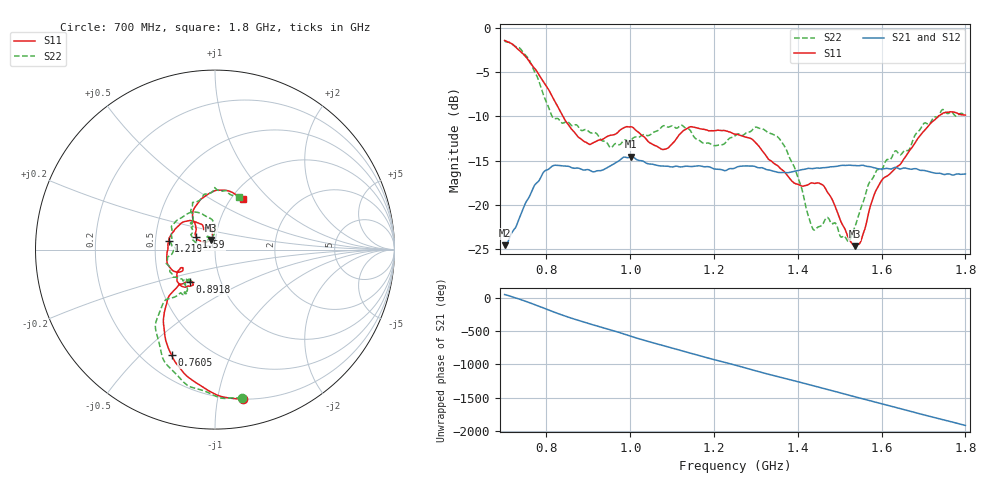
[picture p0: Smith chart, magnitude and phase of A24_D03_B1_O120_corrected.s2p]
! Created with skrf 1.9.0 (http://scikit-rf.org).
# Hz S RI R 50.0
!freq ReS11 ImS11 ReS21 ImS21 ReS12 ImS12 ReS22 ImS22
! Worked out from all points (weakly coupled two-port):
!   1601 points, 700 MHz to 1.8 GHz, reference 50 ohm
!   highest |S21| = -14.55 dB at 1.002 GHz (marker M1); lowest = -24.6 dB at 701.4 MHz (marker M2)
!   lowest |S11| = -24.7 dB at 1.535 GHz (marker M3), VSWR 1.12, Z = 47.3 + j5.03 ohm
!   |S11| at or under -10 dB: 839.1 MHz to 1.736 GHz (896.5 MHz wide, 69.6 % of centre)
!   |S22| runs from -24.2 to -1.5 dB; largest |S21 - S12| = 0.0035
!   S11 on the Smith chart (normalised r, x): 700 MHz: 0.20, -1.19; 760.5 MHz: 0.31, -0.62; 891.8 MHz: 0.71, -0.27; 1.219 GHz: 0.59, +0.06; 1.59 GHz: 0.80, +0.11; 1.8 GHz: 1.13, +0.71
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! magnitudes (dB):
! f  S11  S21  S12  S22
! 700 MHz  -1.4  -24.6  -24.3  -1.5
! 701.4 MHz  -1.5  -24.6  -24.2  -1.5
! 760.5 MHz  -3.9  -18.9  -18.8  -3.8
! 814.8 MHz  -7.9  -15.6  -15.7  -10.1
! 883.6 MHz  -12.6  -16.0  -15.9  -11.6
! 891.8 MHz  -12.9  -16.1  -16.1  -11.5
! 953 MHz  -12.1  -15.6  -15.6  -13.5
! 1.002 GHz  -11.2  -14.6  -14.7  -12.6
! 1.067 GHz  -13.5  -15.6  -15.5  -11.6
! 1.143 GHz  -11.2  -15.7  -15.6  -11.5
! 1.219 GHz  -11.6  -16.0  -16.1  -13.2
! 1.25 GHz  -12.0  -15.8  -15.8  -12.2
! 1.356 GHz  -15.8  -16.3  -16.3  -12.5
! 1.394 GHz  -17.6  -16.2  -16.2  -16.0
! 1.434 GHz  -17.5  -15.9  -15.9  -22.5
! 1.464 GHz  -18.0  -15.8  -15.8  -21.7
! 1.52 GHz  -23.6  -15.5  -15.5  -24.1
! 1.535 GHz  -24.7  -15.5  -15.6  -22.6
! 1.59 GHz  -18.0  -15.9  -15.9  -16.0
! 1.617 GHz  -16.6  -15.9  -15.9  -14.9
! 1.738 GHz  -9.9  -16.4  -16.5  -9.8
! 1.8 GHz  -9.9  -16.5  -16.5  -9.9
